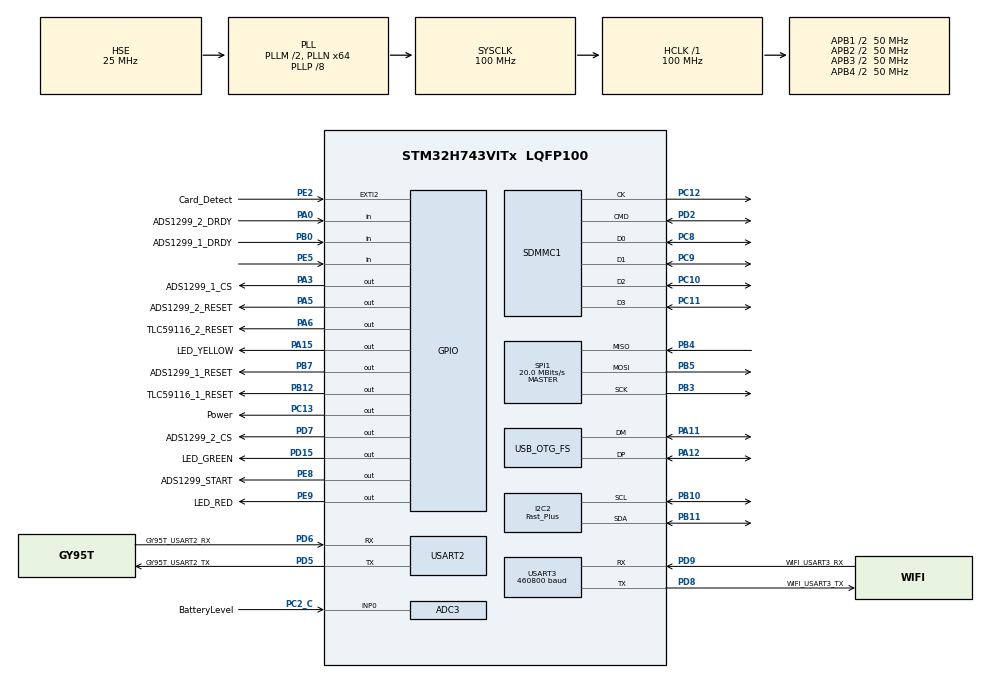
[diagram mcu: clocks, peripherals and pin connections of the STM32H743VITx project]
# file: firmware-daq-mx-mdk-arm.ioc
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ADC3.Channel-6\#ChannelRegularConversion=ADC_CHANNEL_0
ADC3.NbrOfConversionFlag=1
ADC3.OffsetNumber-6\#ChannelRegularConversion=ADC_OFFSET_NONE
ADC3.OffsetSignedSaturation-6\#ChannelRegularConversion=DISABLE
ADC3.Rank-6\#ChannelRegularConversion=1
ADC3.SamplingTime-6\#ChannelRegularConversion=ADC_SAMPLETIME_16CYCLES_5
CORTEX_M7.default_mode_Activation=1
Dma.Request0=USART3_TX
Dma.USART3_TX.0.Direction=DMA_MEMORY_TO_PERIPH
Dma.USART3_TX.0.EventEnable=DISABLE
Dma.USART3_TX.0.FIFOMode=DMA_FIFOMODE_DISABLE
Dma.USART3_TX.0.Instance=DMA1_Stream0
Dma.USART3_TX.0.MemDataAlignment=DMA_MDATAALIGN_BYTE
Dma.USART3_TX.0.MemInc=DMA_MINC_ENABLE
Dma.USART3_TX.0.Mode=DMA_NORMAL
Dma.USART3_TX.0.PeriphDataAlignment=DMA_PDATAALIGN_BYTE
Dma.USART3_TX.0.PeriphInc=DMA_PINC_DISABLE
Dma.USART3_TX.0.Polarity=HAL_DMAMUX_REQ_GEN_RISING
Dma.USART3_TX.0.Priority=DMA_PRIORITY_LOW
Dma.USART3_TX.0.RequestNumber=1
Dma.USART3_TX.0.SignalID=NONE
Dma.USART3_TX.0.SyncEnable=DISABLE
Dma.USART3_TX.0.SyncPolarity=HAL_DMAMUX_SYNC_NO_EVENT
Dma.USART3_TX.0.SyncRequestNumber=1
Dma.USART3_TX.0.SyncSignalID=NONE
FATFS.USE_DMA_CODE_SD=0
FATFS._FS_EXFAT=1
FATFS._USE_LFN=1
I2C2.I2C_Speed_Mode=I2C_Fast_Plus
I2C2.Timing=0x0020081F
Mcu.Family=STM32H7
Mcu.Name=STM32H743VITx
Mcu.Package=LQFP100
NVIC.DMA1_Stream0_IRQn=true\:0\:0\:false\:false\:true\:false\:true\:true
NVIC.EXTI2_IRQn=true\:0\:0\:false\:false\:true\:true\:true\:true
NVIC.OTG_FS_IRQn=true\:0\:0\:false\:false\:true\:false\:true\:true
NVIC.PriorityGroup=NVIC_PRIORITYGROUP_4
NVIC.TIM6_DAC_IRQn=true\:1\:0\:true\:false\:true\:true\:true\:true
NVIC.TIM7_IRQn=true\:1\:0\:true\:false\:true\:true\:true\:true
NVIC.TIM8_UP_TIM13_IRQn=true\:0\:0\:false\:false\:true\:true\:true\:true
NVIC.USART2_IRQn=true\:1\:0\:true\:false\:true\:true\:true\:true
NVIC.USART3_IRQn=true\:0\:0\:true\:false\:true\:true\:true\:true
PA0.GPIO_Label=ADS1299_2_DRDY
PA0.GPIO_PuPd=GPIO_PULLUP
PA0.Signal=GPIO_Input
PA11.Mode=Device_Only
PA11.Signal=USB_OTG_FS_DM
PA12.Mode=Device_Only
PA12.Signal=USB_OTG_FS_DP
PA15\ (JTDI).GPIO_Label=LED_YELLOW
PA15\ (JTDI).GPIO_PuPd=GPIO_PULLDOWN
PA15\ (JTDI).Signal=GPIO_Output
PA3.GPIO_Label=ADS1299_1_CS
PA3.GPIO_PuPd=GPIO_PULLUP
PA3.PinState=GPIO_PIN_SET
PA3.Signal=GPIO_Output
PA5.GPIO_Label=ADS1299_2_RESET
PA5.GPIO_PuPd=GPIO_PULLUP
PA5.PinState=GPIO_PIN_SET
PA5.Signal=GPIO_Output
PA6.GPIO_Label=TLC59116_2_RESET
PA6.GPIO_PuPd=GPIO_PULLUP
PA6.PinState=GPIO_PIN_SET
PA6.Signal=GPIO_Output
PB0.GPIO_Label=ADS1299_1_DRDY
PB0.GPIO_PuPd=GPIO_PULLUP
PB0.Signal=GPIO_Input
PB10.Mode=I2C
PB10.Signal=I2C2_SCL
PB11.Mode=I2C
PB11.Signal=I2C2_SDA
PB12.GPIO_Label=TLC59116_1_RESET
PB12.GPIO_PuPd=GPIO_PULLUP
PB12.PinState=GPIO_PIN_SET
PB12.Signal=GPIO_Output
PB3\ (JTDO/TRACESWO).GPIO_PuPd=GPIO_PULLDOWN
PB3\ (JTDO/TRACESWO).GPIO_Speed=GPIO_SPEED_FREQ_VERY_HIGH
PB3\ (JTDO/TRACESWO).Mode=Full_Duplex_Master
PB3\ (JTDO/TRACESWO).Signal=SPI1_SCK
PB4\ (NJTRST).GPIO_PuPd=GPIO_PULLDOWN
PB4\ (NJTRST).GPIO_Speed=GPIO_SPEED_FREQ_VERY_HIGH
PB4\ (NJTRST).Mode=Full_Duplex_Master
PB4\ (NJTRST).Signal=SPI1_MISO
PB5.GPIO_PuPd=GPIO_PULLDOWN
PB5.GPIO_Speed=GPIO_SPEED_FREQ_VERY_HIGH
PB5.Mode=Full_Duplex_Master
PB5.Signal=SPI1_MOSI
PB7.GPIO_Label=ADS1299_1_RESET
PB7.GPIO_ModeDefaultOutputPP=GPIO_MODE_OUTPUT_PP
PB7.GPIO_PuPd=GPIO_PULLUP
PB7.GPIO_Speed=GPIO_SPEED_FREQ_LOW
PB7.PinState=GPIO_PIN_SET
PB7.Signal=GPIO_Output
PC10.GPIO_PuPd=GPIO_PULLUP
PC10.GPIO_Speed_High_Default=GPIO_SPEED_FREQ_VERY_HIGH
PC10.Mode=SD_4_bits_Wide_bus
PC10.Signal=SDMMC1_D2
PC11.GPIO_PuPd=GPIO_PULLUP
PC11.GPIO_Speed_High_Default=GPIO_SPEED_FREQ_VERY_HIGH
PC11.Mode=SD_4_bits_Wide_bus
PC11.Signal=SDMMC1_D3
PC12.GPIO_PuPd=GPIO_NOPULL
PC12.GPIO_Speed_High_Default=GPIO_SPEED_FREQ_VERY_HIGH
PC12.Mode=SD_4_bits_Wide_bus
PC12.Signal=SDMMC1_CK
PC13.GPIO_Label=Power
PC13.GPIO_PuPd=GPIO_PULLUP
PC13.PinState=GPIO_PIN_SET
PC13.Signal=GPIO_Output
PC14-OSC32_IN\ (OSC32_IN).Mode=LSE-External-Oscillator
PC14-OSC32_IN\ (OSC32_IN).Signal=RCC_OSC32_IN
PC15-OSC32_OUT\ (OSC32_OUT).Mode=LSE-External-Oscillator
PC15-OSC32_OUT\ (OSC32_OUT).Signal=RCC_OSC32_OUT
PC2_C.GPIO_Label=BatteryLevel
PC2_C.Signal=SharedAnalog_PC2
PC8.GPIO_PuPd=GPIO_PULLUP
PC8.GPIO_Speed_High_Default=GPIO_SPEED_FREQ_VERY_HIGH
PC8.Mode=SD_4_bits_Wide_bus
PC8.Signal=SDMMC1_D0
PC9.GPIO_PuPd=GPIO_PULLUP
PC9.GPIO_Speed_High_Default=GPIO_SPEED_FREQ_VERY_HIGH
PC9.Mode=SD_4_bits_Wide_bus
PC9.Signal=SDMMC1_D1
PD15.GPIO_Label=LED_GREEN
PD15.GPIO_PuPd=GPIO_PULLDOWN
PD15.Signal=GPIO_Output
PD2.GPIO_PuPd=GPIO_PULLUP
PD2.GPIO_Speed_High_Default=GPIO_SPEED_FREQ_VERY_HIGH
PD2.Mode=SD_4_bits_Wide_bus
PD2.Signal=SDMMC1_CMD
PD5.GPIO_Label=GY95T_USART2_TX
PD5.Mode=Asynchronous
PD5.Signal=USART2_TX
PD6.GPIO_Label=GY95T_USART2_RX
PD6.Mode=Asynchronous
PD6.Signal=USART2_RX
PD7.GPIO_Label=ADS1299_2_CS
PD7.GPIO_PuPd=GPIO_PULLUP
PD7.PinState=GPIO_PIN_SET
PD7.Signal=GPIO_Output
PD8.GPIO_Label=WIFI_USART3_TX
PD8.Mode=Asynchronous
PD8.Signal=USART3_TX
PD9.GPIO_Label=WIFI_USART3_RX
PD9.Mode=Asynchronous
PD9.Signal=USART3_RX
PE2.GPIO_Label=Card_Detect
PE2.GPIO_ModeDefaultEXTI=GPIO_MODE_IT_RISING
PE2.GPIO_PuPd=GPIO_NOPULL
PE2.Signal=GPXTI2
PE5.GPIO_PuPd=GPIO_PULLDOWN
PE5.Signal=GPIO_Input
PE8.GPIO_Label=ADS1299_START
PE8.GPIO_PuPd=GPIO_PULLDOWN
PE8.GPIO_Speed=GPIO_SPEED_FREQ_LOW
PE8.Signal=GPIO_Output
PE9.GPIO_Label=LED_RED
PE9.GPIO_ModeDefaultOutputPP=GPIO_MODE_OUTPUT_PP
PE9.GPIO_PuPd=GPIO_PULLDOWN
PE9.PinState=GPIO_PIN_RESET
PE9.Signal=GPIO_Output
PH0-OSC_IN\ (PH0).Mode=HSE-External-Oscillator
PH0-OSC_IN\ (PH0).Signal=RCC_OSC_IN
PH1-OSC_OUT\ (PH1).Mode=HSE-External-Oscillator
PH1-OSC_OUT\ (PH1).Signal=RCC_OSC_OUT
ProjectManager.HeapSize=0x200
ProjectManager.StackSize=0x400
ProjectManager.TargetToolchain=MDK-ARM V5.32
RCC.ADCFreq_Value=20000000
RCC.APB1Freq_Value=50000000
RCC.APB2Freq_Value=50000000
RCC.APB3Freq_Value=50000000
RCC.APB4Freq_Value=50000000
RCC.CortexFreq_Value=100000000
RCC.D1PPRE=RCC_APB3_DIV2
RCC.D2PPRE1=RCC_APB1_DIV2
RCC.D2PPRE2=RCC_APB2_DIV2
RCC.D3PPRE=RCC_APB4_DIV2
RCC.DIVM1=2
RCC.DIVM2=2
RCC.DIVM3=25
RCC.DIVN1=64
RCC.DIVN2=32
RCC.DIVN3=432
RCC.DIVP1=8
RCC.DIVP2=20
RCC.DIVP3=9
RCC.DIVQ1=20
RCC.DIVQ2=10
RCC.DIVQ3=9
RCC.DIVR2=10
RCC.DIVR3=9
RCC.HCLKFreq_Value=100000000
RCC.PLL2FRACN=0
RCC.PLLFRACN=0
RCC.PLLSourceVirtual=RCC_PLLSOURCE_HSE
RCC.RTCClockSelection=RCC_RTCCLKSOURCE_LSE
RCC.SDMMC1CLockSelection=RCC_SDMMCCLKSOURCE_PLL2
RCC.SYSCLKFreq_VALUE=100000000
RCC.SYSCLKSource=RCC_SYSCLKSOURCE_PLLCLK
RCC.USART234578CLockSelection=RCC_USART234578CLKSOURCE_PLL2
RCC.USBCLockSelection=RCC_USBCLKSOURCE_PLL3
RCC.USBFreq_Value=48000000
SDMMC1.ClockDiv=4
SH.SharedAnalog_PC2.0=GPIO_Analog
SH.SharedAnalog_PC2.1=ADC3_INP0,IN0-Single-Ended
SPI1.BaudRatePrescaler=SPI_BAUDRATEPRESCALER_2
SPI1.CLKPhase=SPI_PHASE_2EDGE
SPI1.CalculateBaudRate=20.0 MBits/s
SPI1.DataSize=SPI_DATASIZE_8BIT
SPI1.Direction=SPI_DIRECTION_2LINES
SPI1.Mode=SPI_MODE_MASTER
SPI1.NSSPMode=SPI_NSS_PULSE_DISABLE
SPI1.VirtualType=VM_MASTER
TIM13.Period=999
TIM13.Prescaler=99
TIM6.AutoReloadPreload=TIM_AUTORELOAD_PRELOAD_ENABLE
TIM6.Period=199
TIM6.Prescaler=9999
TIM7.AutoReloadPreload=TIM_AUTORELOAD_PRELOAD_ENABLE
TIM7.Period=99
TIM7.Prescaler=99
USART2.OverSampling=UART_OVERSAMPLING_8
USART2.VirtualMode-Asynchronous=VM_ASYNC
USART3.BaudRate=460800
USART3.MSBFirstParam=ADVFEATURE_MSBFIRST_DISABLE
USART3.OverSampling=UART_OVERSAMPLING_8
USART3.VirtualMode-Asynchronous=VM_ASYNC
USB_DEVICE.CLASS_NAME_FS=MSC
USB_DEVICE.VirtualMode-MSC_FS=Msc
USB_DEVICE.VirtualModeFS=Msc_FS
USB_OTG_FS.VirtualMode=Device_Only
VP_FATFS_VS_SDIO.Mode=SDIO
VP_MEMORYMAP_VS_MEMORYMAP.Mode=CurAppReg
VP_RTC_VS_RTC_Activate.Mode=RTC_Enabled
VP_RTC_VS_RTC_Calendar.Mode=RTC_Calendar
VP_TIM13_VS_ClockSourceINT.Mode=Enable_Timer
VP_TIM6_VS_ClockSourceINT.Mode=Enable_Timer
VP_TIM7_VS_ClockSourceINT.Mode=Enable_Timer
VP_USB_DEVICE_VS_USB_DEVICE_MSC_FS.Mode=MSC_FS
board=custom

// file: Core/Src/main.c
/* USER CODE BEGIN Header */
/**
  ******************************************************************************
  * @file           : main.c
  * @brief          : Main program body
  ******************************************************************************
  * @attention
  *
  * Copyright (c) 2026 STMicroelectronics.
  * All rights reserved.
  *
  * This software is licensed under terms that can be found in the LICENSE file
  * in the root directory of this software component.
  * If no LICENSE file comes with this software, it is provided AS-IS.
  *
  ******************************************************************************
  */
/* USER CODE END Header */
#include "main.h"
#include "adc.h"
#include "dma.h"
#include "fatfs.h"
#include "i2c.h"
#include "rtc.h"
#include "sdmmc.h"
#include "spi.h"
#include "tim.h"
#include "usart.h"
#include "usb_device.h"
#include "gpio.h"

/* USER CODE BEGIN Includes */

#include <string.h>
#include <stdio.h>
#include "ADS1299.h"
#include "BatteryLevel.h"
#include "E101-C5WN8-PS.h"
#include "GY-95T.h"
#include "RingBuffer.h"
#include "SD.h"
#include "TLC59116.h"
#include "Utils.h"

/* USER CODE END Includes */

/* USER CODE BEGIN PD */

#define CALIBRATE_FREQUENCY 15000U // 校准频率每15000次校准一次

#define PACKET_SIZE 2048U // 数据包大小, 包括2字节头

// 如果组包速度大于DMA发送速度
#define PACKET_COUNT 8U // 数据包数量

#define MARKER_SIZE 16U
#define MARKER_CAPACITY (MARKER_SIZE * 8U)

/* USER CODE END PD */

/* USER CODE BEGIN PV */

// TIM6中断标志
static volatile bool g_tim6_ready = false;

// TIM13中断标志
static volatile bool g_tim13_ready = false;

// USART3发送忙标志
static volatile bool g_usart3_tx_busy = false;

static volatile uint32_t g_marker_time[MARKER_CAPACITY] = {0};
static volatile uint8_t g_marker[MARKER_SIZE] = {0};
static volatile uint8_t g_marker_index = 0U;
static volatile bool g_marker_start = false;

// ADS1299数据
static int32_t g_ads_data[LED_COUNT * RECVIVER_COUNT * CHANNEL_COUNT_PER_LED];

// 数据个数
static uint16_t g_ads_data_count = 0U;

// 采集索引
static uint8_t g_sample_idx = 0U;

// 数据包序号
static uint32_t g_packet_num = 0U;

// 数据包,需要发送到上位机
static uint8_t g_packet[PACKET_COUNT][PACKET_SIZE];

// 新数据包索引
static int8_t g_new_packet_index = -1;

// 正在发送数据包索引
static int8_t g_tx_packet_index = -1;

// SD卡正在写入的数据包索引
static int8_t g_sd_packet_index = -1;

static uint16_t g_tx_ads_data_count = 0U;

static volatile uint8_t g_tx_head = 0U;

/* USER CODE END PV */

void SystemClock_Config(void);
void PeriphCommonClock_Config(void);
static void MPU_Config(void);
/* USER CODE BEGIN PFP */

/**
  * @brief  根据采样率配置定时器6
  * @param rate 采样率（Hz）
  * @param new_psc 新的预分频器值（0-65535）
  * @param new_arr 新的自动重载值（0-65535）
  */
static void configure_tim6_for_sample_rate(uint32_t rate, uint16_t* new_psc, uint16_t* new_arr);

/* USER CODE END PFP */

int main(void)
{

  /* MPU Configuration--------------------------------------------------------*/
  MPU_Config();

  /* MCU Configuration--------------------------------------------------------*/

  /* Reset of all peripherals, Initializes the Flash interface and the Systick. */
  HAL_Init();

  /* Configure the system clock */
  SystemClock_Config();

  /* Configure the peripherals common clocks */
  PeriphCommonClock_Config();

  /* Initialize all configured peripherals */
  MX_GPIO_Init();
  MX_DMA_Init();
  MX_I2C2_Init();
  MX_USART3_UART_Init();
  MX_SPI1_Init();
  MX_TIM6_Init();
  MX_ADC3_Init();
  MX_TIM7_Init();
  MX_USART2_UART_Init();
  MX_SDMMC1_SD_Init();
  MX_FATFS_Init();
  MX_RTC_Init();
  MX_USB_DEVICE_Init();
  MX_TIM13_Init();
  /* USER CODE BEGIN 2 */

  // 初始化数据包，提前设置头字节为846F0B
  for (uint8_t i = 0; i < PACKET_COUNT; ++i)
  {
    g_packet[i][0] = 0x84;
    g_packet[i][1] = 0x6F;
    g_packet[i][2] = g_wifi_command_type;
    g_packet[i][3] = 0x00;
  }

  SD_Mount();

	  // 清理HAL_SD_Init阶段可能产生的UART2错误标志和残留数据
  __HAL_UART_CLEAR_OREFLAG(&huart2);
  __HAL_UART_CLEAR_NEFLAG(&huart2);
  __HAL_UART_CLEAR_FEFLAG(&huart2);
  __HAL_UART_CLEAR_PEFLAG(&huart2);
  __HAL_UART_SEND_REQ(&huart2, UART_RXDATA_FLUSH_REQUEST);

  // 清理HAL_SD_Init阶段可能产生的UART3错误标志和残留数据
  __HAL_UART_CLEAR_OREFLAG(&huart3);
  __HAL_UART_CLEAR_NEFLAG(&huart3);
  __HAL_UART_CLEAR_FEFLAG(&huart3);
  __HAL_UART_CLEAR_PEFLAG(&huart3);
  __HAL_UART_SEND_REQ(&huart3, UART_RXDATA_FLUSH_REQUEST);

  // 初始化USART2接收中断
  HAL_UART_Receive_IT(&huart2, &g_gy95t_usart2_rx_byte, 1U);

  // 初始化USART3接收中断
  HAL_UART_Receive_IT(&huart3, &g_wifi_usart3_rx_byte, 1U);

  HAL_TIM_Base_Start_IT(&htim6);

  HAL_TIM_Base_Start_IT(&htim7);

	HAL_TIM_Base_Start_IT(&htim13);

  DWT_Init();

  /* 初始化GY95T */
  GY95T_Init();

  /* 初始化WIFI */
  WIFI_Init();

  /* 初始化所有(2个)TLC59116为PWM模式，设置所有通道的PWM值为0 */
  TLC59116_Init();

  /* 初始化第1个ADS1299芯片 */
  ADS1299_1_Init();

  /* 初始化第2个ADS1299芯片 */
  ADS1299_2_Init();

  Get_Battery_Level();

  /* USER CODE END 2 */

  /* Infinite loop */
  /* USER CODE BEGIN WHILE */
  while (1)
  {
    static uint32_t battery_level_last_tick = 0U;

    uint32_t now_tick = HAL_GetTick();
    if ((now_tick - battery_level_last_tick) >= 2000U * 30)
    {
      battery_level_last_tick = now_tick;
      (void)Get_Battery_Level();
    }

    /* SD卡检测去抖：中断只登记事件，在主循环中30ms后判稳 */
    if (g_sd_card_detect_irq_pending)
    {
      if ((HAL_GetTick() - g_sd_card_detect_irq_tick) >= SD_CARD_DEBOUNCE_MS)
      {
        g_sd_card_detect_irq_pending = false;

        bool old_detected = g_sd_card_detected;
        SD_Detect();

        if (old_detected != g_sd_card_detected)
        {
          if (g_sd_card_detected)
          {
            // 检测到卡插入了
            MX_SDMMC1_SD_Init();

            SD_Mount();
          }
          else
          {
            // 检测到卡拔出了
            g_sd_card_initialized = false;
            g_sd_card_mounted = false;
            g_file_opened = false;
          }

          SD_SendInfo();
        }
      }
    }

    {
      static uint32_t power_key_start_time = 0U;
      static bool power_key_pressed = false;

      if (HAL_GPIO_ReadPin(GPIOE, GPIO_PIN_5) == GPIO_PIN_SET)
      {
        if (!power_key_pressed)
        {
          power_key_start_time = HAL_GetTick();
          power_key_pressed = true;
        }
        else
        {
          if ((HAL_GetTick() - power_key_start_time) >= 1500U)
          {
            SD_CloseFile();
            HAL_GPIO_WritePin(Power_GPIO_Port, Power_Pin, GPIO_PIN_RESET);
            while (1) {}
          }
        }
      }
      else
      {
        power_key_pressed = false;
      }
    }

    /* 1. 处理WIFI串口数据 */
    if (RB_Available(&g_wifi_rb) > 0)
    {
      uint8_t byte;
      RB_ReadByte(&g_wifi_rb, &byte);
      WIFI_AssembleCommand(byte);
    }

    /* 2. 处理是否发送SD卡信息标志 */
    if (g_send_sd_info_flag)
    {
      g_send_sd_info_flag = false;

      SD_SendInfo();
    }

    /* 2. 处理GY95T串口数据 */
    if (RB_Available(&g_gy95t_rb) > 0)
    {
      uint8_t byte;
      RB_ReadByte(&g_gy95t_rb, &byte);
      GY95T_ProcessByte(byte);
    }

    /* 3. 处理离线存储标志改变标志 */
    if (g_storage_flag_changed)
    {
      g_storage_flag_changed = false;
    }

    /* 4. 处理采样率改变标志 */
    if (g_sample_rate_changed)
    {
      g_sample_rate_changed = false;

      /* 新的预分频器值 */
      uint16_t new_psc = 0U;
      /* 新的自动重载值 */
      uint16_t new_arr = 0U;

      /* 配置定时器6的采样率 */
      configure_tim6_for_sample_rate(g_sample_rate, &new_psc, &new_arr);

      /* 采样率改变，更新定时器6的周期 */
      __HAL_TIM_SET_PRESCALER(&htim6, new_psc);
      __HAL_TIM_SET_AUTORELOAD(&htim6, new_arr);
      HAL_TIM_GenerateEvent(&htim6, TIM_EVENTSOURCE_UPDATE);
    }

    /* 5. 处理开始采样标志改变标志 */
    if (g_start_flag_changed)
    {
      g_start_flag_changed = false;

      /* 采样 */
      if (g_start_flag)
      {

        //g_timestamp = 0U;

        memset(g_marker, 0, sizeof(g_marker));
        g_marker_index = 0;

        if (g_storage_flag)
        {
          RTC_TimeTypeDef rtc_time = {0};
          RTC_DateTypeDef rtc_date = {0};
          char file_name[24] = {0};

          /* 读取RTC时间并生成文件名: yyyyMMdd-hhmmss */
          HAL_RTC_GetTime(&hrtc, &rtc_time, RTC_FORMAT_BIN);
          HAL_RTC_GetDate(&hrtc, &rtc_date, RTC_FORMAT_BIN);
          (void)snprintf(file_name, sizeof(file_name), "0:%04u%02u%02u-%02u%02u%02u",
                        (unsigned int)(2000U + rtc_date.Year),
                        (unsigned int)rtc_date.Month,
                        (unsigned int)rtc_date.Date,
                        (unsigned int)rtc_time.Hours,
                        (unsigned int)rtc_time.Minutes,
                        (unsigned int)rtc_time.Seconds);
          SD_SetFileName(file_name);
          SD_OpenFile();
        }

        /* 开始GY95T的连续输出 */
        GY95T_Start();
      }
      else
      {
        if (g_storage_flag)
        {
          SD_CloseFile();
        }

        /* 当停止采样时，停止GY95T的连续输出 */
        GY95T_Stop();

        g_packet_num = 0U;
        //g_timestamp = 0U;
      }
    }

    // if (g_tim13_ready && g_start_flag)
    // {
    //   g_tim13_ready = false;
    //   // 读取GPIO状态
    //   GPIO_PinState gpio_state = HAL_GPIO_ReadPin(Card_Detect_GPIO_Port, Card_Detect_Pin);

    //   if (g_marker_index < MARKER_CAPACITY)
    //   {
    //     g_marker_time[g_marker_index] = g_timestamp;

    //     uint16_t marker_byte_index = g_marker_index / 8U;
    //     uint8_t marker_bit_mask = (uint8_t)(1U << (g_marker_index % 8U));
    //     if (gpio_state == GPIO_PIN_SET)
    //     {
    //       g_marker[marker_byte_index] |= marker_bit_mask;
    //     }
    //     else
    //     {
    //       g_marker[marker_byte_index] &= (uint8_t)~marker_bit_mask;
    //     }
    //     g_marker_index++;
    //   }
    //   else
    //   {
    //     for (uint16_t i = 0U; i < MARKER_SIZE - 1U; i++)
    //     {
    //       g_marker[i] = (uint8_t)((g_marker[i] >> 1U) | ((g_marker[i + 1U] & 0x01U) << 7U));
    //     }
    //     g_marker[MARKER_SIZE - 1U] >>= 1U;

    //     if (gpio_state == GPIO_PIN_SET)
    //     {
    //       g_marker[MARKER_SIZE - 1U] |= 0x80U;
    //     }

    //     for (uint16_t i = 0U; i < MARKER_CAPACITY - 1U; i++)
    //     {
    //       g_marker_time[i] = g_marker_time[i + 1U];
    //     }
    //     g_marker_time[MARKER_CAPACITY - 1U] = g_timestamp;
    //   }
    // }

    /* 6. 处理USART3发送忙标志，USART3发送处于空闲状态,并且有新的数据包需要发送 */
    if (!g_usart3_tx_busy && (g_tx_packet_index != g_new_packet_index))
    {
      /* 设置为发送忙状态 */
      g_usart3_tx_busy = true;

      /* 下一个要发送的数据包索引 */
      g_tx_packet_index = (g_tx_packet_index + 1) % PACKET_COUNT;

      if (g_storage_flag)
      {
        UINT bw = 0U;
        FRESULT res = SD_WriteFile(g_packet[g_tx_packet_index], 14 + g_tx_ads_data_count * 4 + 20 + 21, &bw);
      }

      HAL_UART_Transmit_DMA(&huart3, g_packet[g_tx_packet_index], 14 + g_tx_ads_data_count * 4 + 20 + 21);
    }

    /* 7. 处理定时器6中断 */
    if (g_tim6_ready && g_start_flag)
    {
        memset(g_marker, 0, sizeof(g_marker));
        g_marker_index = 0;
        g_marker_start = true;

      g_tim6_ready = false;
			g_sample_idx = 0;

      uint32_t tim6_start = DWT->CYCCNT;

      /* 循环开启TLC59116-1的16个通道 */
      for (uint8_t ch = 0; ch < LED_COUNT; ch++)
      {
        /* 第几个LED */
        uint8_t led = ch / 2;

        uint8_t ads1 =  g_channel_mask[led * 2];

        uint8_t ads2 =  g_channel_mask[led * 2 + 1];

        // 如果没有建立通道，跳过开启LED
        if (ads1 == 0 && ads2 == 0)
        {
          continue;
        }

        uint32_t turn_on_led_start = DWT->CYCCNT;

        // 开启LED
        TLC59116_1_SetPwm(ch, g_led_brightness[led]);

        // TODO: 待确认延时10us
        Delay_US(20);

        uint32_t ads1_channel_start = DWT->CYCCNT;

        if (ads1 != 0)
        {
          ADS1299_1_CS_Low();
          ADS1299_Start_ByCmd();
          ADS1299_1_CS_High();
        }

        if (ads2 != 0)
        {
          ADS1299_2_CS_Low();
          ADS1299_Start_ByCmd();
          ADS1299_2_CS_High();
        }

        // led与ads1建立了通道
        if (ads1 != 0)
        {
          uint32_t ads1299_1_wait_drdy_start = DWT->CYCCNT;

          // 等待DRDY引脚为低电平
          while (HAL_GPIO_ReadPin(ADS1299_1_DRDY_GPIO_Port, ADS1299_1_DRDY_Pin) != GPIO_PIN_RESET)
          {
          }

          uint32_t ads1299_1_read_data_start = DWT->CYCCNT;

          ADS1299_1_CS_Low();

          // 读取ADS12991数据寄存器
          HAL_SPI_TransmitReceive(&hspi1, ads_tx_buffer, ads_1_rx_buffer, 27, 100U);

          uint32_t ads1299_1_stop_start = DWT->CYCCNT;

          uint32_t ads1299_1_cs_high_start = DWT->CYCCNT;

          ADS1299_1_CS_High();

          uint32_t ads1299_1_process_data_start = DWT->CYCCNT;

          for (uint8_t i = 0; i < 8; i++)
          {
            uint8_t set = Is_Bit_Set(ads1, i);
            if (1 == set)
            {
              int32_t value =  Sign_Extend_24_to_32(&ads_1_rx_buffer[3 + i * 3]);
              g_ads_data[g_ads_data_count++] = value - ads_1_origin[i];
            }
          }

          uint32_t ads1299_1_process_data_end = DWT->CYCCNT;
        }

        uint32_t ads2_channel_start = DWT->CYCCNT;

        // led与ads2建立了通道
        if (ads2 != 0)
        {

          uint32_t ads1299_2_wait_drdy_start = DWT->CYCCNT;

          // 等待DRDY引脚为低电平
          while (HAL_GPIO_ReadPin(ADS1299_2_DRDY_GPIO_Port, ADS1299_2_DRDY_Pin) != GPIO_PIN_RESET)
          {
          }

          uint32_t ads1299_2_read_data_start = DWT->CYCCNT;

          ADS1299_2_CS_Low();

          // 读取ADS12992数据寄存器
          HAL_SPI_TransmitReceive(&hspi1, ads_tx_buffer, ads_2_rx_buffer, 27, 100U);

          uint32_t ads1299_2_stop_start = DWT->CYCCNT;

          uint32_t ads1299_2_cs_high_start = DWT->CYCCNT;

          ADS1299_2_CS_High();

          uint32_t ads1299_2_process_data_start = DWT->CYCCNT;

          for (uint8_t i = 0; i < 8; i++)
          {
            uint8_t set = Is_Bit_Set(ads2, i);
            if (1 == set)
            {
              int32_t value =  Sign_Extend_24_to_32(&ads_2_rx_buffer[3 + i * 3]);
              g_ads_data[g_ads_data_count++] = value - ads_2_origin[i];
            }
          }

          uint32_t ads1299_2_process_data_end = DWT->CYCCNT;
        }

        if (ads1 != 0)
        {
          ADS1299_1_CS_Low();
          ADS1299_Stop_ByCmd();
          ADS1299_1_CS_High();
        }

        if (ads2 != 0)
        {
          ADS1299_2_CS_Low();
          ADS1299_Stop_ByCmd();
          ADS1299_2_CS_High();
        }

        uint32_t turn_off_led_start = DWT->CYCCNT;

        // 关闭LED
        TLC59116_1_SetPwm(ch, 0);

        uint32_t turn_off_led_end = DWT->CYCCNT;
      }

      // 循环开启TLC59116-2的16个通道
      for (uint8_t ch = 0; ch < LED_COUNT; ch++)
      {
        // 第几个LED
        uint8_t led = ch / 2;

        uint8_t ads1 =  g_channel_mask[16 + led * 2];

        uint8_t ads2 =  g_channel_mask[16 + led * 2 + 1];

        // 如果没有建立通道，跳过开启LED
        if (ads1 == 0 && ads2 == 0)
        {
          continue;
        }

        uint32_t turn_on_led_start = DWT->CYCCNT;

        // 开启LED
        TLC59116_2_SetPwm(ch, g_led_brightness[8 + led]);

        // TODO: 待确认延时10us
        Delay_US(20);

        uint32_t ads1_channel_start = DWT->CYCCNT;

        if (ads1 != 0)
        {
          ADS1299_1_CS_Low();
          ADS1299_Start_ByCmd();
          ADS1299_1_CS_High();
        }

        if (ads2 != 0)
        {
          ADS1299_2_CS_Low();
          ADS1299_Start_ByCmd();
          ADS1299_2_CS_High();
        }

        // led与ads1建立了通道
        if (ads1 != 0)
        {

          uint32_t ads1299_1_wait_drdy_start = DWT->CYCCNT;

          // 等待DRDY引脚为低电平
          while (HAL_GPIO_ReadPin(ADS1299_1_DRDY_GPIO_Port, ADS1299_1_DRDY_Pin) != GPIO_PIN_RESET)
          {
          }

          ADS1299_1_CS_Low();

          uint32_t ads1299_1_read_data_start = DWT->CYCCNT;

          // 读取ADS12991数据寄存器
          HAL_SPI_TransmitReceive(&hspi1, ads_tx_buffer, ads_1_rx_buffer, 27, 100U);

          uint32_t ads1299_1_stop_start = DWT->CYCCNT;

          uint32_t ads1299_1_cs_high_start = DWT->CYCCNT;

          ADS1299_1_CS_High();

          uint32_t ads1299_1_process_data_start = DWT->CYCCNT;

          for (uint8_t i = 0; i < 8; i++)
          {
            uint8_t set = Is_Bit_Set(ads1, i);
            if (1 == set)
            {
              int32_t value =  Sign_Extend_24_to_32(&ads_1_rx_buffer[3 + i * 3]);
              g_ads_data[g_ads_data_count++] = value - ads_1_origin[i];
            }
          }

          uint32_t ads1299_1_process_data_end = DWT->CYCCNT;
        }

        uint32_t ads2_channel_start = DWT->CYCCNT;

        // led与ads2建立了通道
        if (ads2 != 0)
        {
          uint32_t ads1299_2_wait_drdy_start = DWT->CYCCNT;

          // 等待DRDY引脚为低电平
          while (HAL_GPIO_ReadPin(ADS1299_2_DRDY_GPIO_Port, ADS1299_2_DRDY_Pin) != GPIO_PIN_RESET)
          {
          }

          uint32_t ads1299_2_read_data_start = DWT->CYCCNT;

          ADS1299_2_CS_Low();

          // 读取ADS12992数据寄存器
          HAL_SPI_TransmitReceive(&hspi1, ads_tx_buffer, ads_2_rx_buffer, 27, 100U);

          uint32_t ads1299_2_stop_start = DWT->CYCCNT;

          uint32_t ads1299_2_cs_high_start = DWT->CYCCNT;

          ADS1299_2_CS_High();

          uint32_t ads1299_2_process_data_start = DWT->CYCCNT;

          for (uint8_t i = 0; i < 8; i++)
          {
            uint8_t set = Is_Bit_Set(ads2, i);
            if (1 == set)
            {
              int32_t value =  Sign_Extend_24_to_32(&ads_2_rx_buffer[3 + i * 3]);
              g_ads_data[g_ads_data_count++] = value - ads_2_origin[i];
            }
          }

          uint32_t ads1299_2_process_data_end = DWT->CYCCNT;
        }

        if (ads1 != 0)
        {
          ADS1299_1_CS_Low();
          ADS1299_Stop_ByCmd();
          ADS1299_1_CS_High();
        }

        if (ads2 != 0)
        {
          ADS1299_2_CS_Low();
          ADS1299_Stop_ByCmd();
          ADS1299_2_CS_High();
        }

        uint32_t turn_off_led_start = DWT->CYCCNT;

        // 关闭LED
        TLC59116_2_SetPwm(ch, 0);

        uint32_t turn_off_led_end = DWT->CYCCNT;

      }

      g_sample_idx++;

      g_marker_start = false;
    }

    // 采样次数大于指定次数就发送
    if (g_sample_idx >= 1)
    {
      g_sample_idx = 0;

      // 新数据包索引
      int8_t new_packet_index = (g_new_packet_index + 1) % PACKET_COUNT;;
      if (new_packet_index == g_tx_packet_index)
      {
      }
      else
      {
        g_new_packet_index = new_packet_index;
      }

      g_packet[g_new_packet_index][2] = g_wifi_command_type;

      // 数据个数
      memcpy(g_packet[g_new_packet_index] + 4, &g_ads_data_count, sizeof(g_ads_data_count));

      // 数据包序号
      memcpy(g_packet[g_new_packet_index] + 6, &g_packet_num, sizeof(g_packet_num));

      // 时间戳
      memcpy(g_packet[g_new_packet_index] + 10, (const void *)&g_timestamp, sizeof(g_timestamp));

      // 复制数据
      memcpy(g_packet[g_new_packet_index] + 14, &g_ads_data, 4 * g_ads_data_count);

      /* GY95T数据 */
      memcpy(g_packet[g_new_packet_index] + 14 + 4 * g_ads_data_count, g_gy95t_data, GY95T_DATA_SIZE);

      g_packet[g_new_packet_index][14 + 4 * g_ads_data_count + GY95T_DATA_SIZE] = g_battery_level;

      g_packet[g_new_packet_index][14 + 4 * g_ads_data_count + GY95T_DATA_SIZE + 1] = 0;

      memcpy(g_packet[g_new_packet_index] + 14 + 4 * g_ads_data_count + GY95T_DATA_SIZE + 2, g_marker_time, 4);

      memcpy(g_packet[g_new_packet_index] + 14 + 4 * g_ads_data_count + GY95T_DATA_SIZE + 2 + 4, &g_marker_index, sizeof(g_marker_index));

      memcpy(g_packet[g_new_packet_index] + 14 + 4 * g_ads_data_count + GY95T_DATA_SIZE + 2 + 4 + sizeof(g_marker_index), g_marker, MARKER_SIZE);

      memset(g_marker, 0, sizeof(g_marker));
      g_marker_index = 0;

      g_tx_ads_data_count = g_ads_data_count;
      // 发送完毕，重置数据个数，从头开始写数据
      g_ads_data_count = 0;

      // 每发送一次数据，序号加1
      g_packet_num++;
    }

    /* USER CODE END WHILE */

  }
}

void SystemClock_Config(void)
{
  RCC_OscInitTypeDef RCC_OscInitStruct = {0};
  RCC_ClkInitTypeDef RCC_ClkInitStruct = {0};

  /** Supply configuration update enable
  */
  HAL_PWREx_ConfigSupply(PWR_LDO_SUPPLY);

  /** Configure the main internal regulator output voltage
  */
  __HAL_PWR_VOLTAGESCALING_CONFIG(PWR_REGULATOR_VOLTAGE_SCALE3);

  while(!__HAL_PWR_GET_FLAG(PWR_FLAG_VOSRDY)) {}

  /** Configure LSE Drive Capability
  */
  HAL_PWR_EnableBkUpAccess();
  __HAL_RCC_LSEDRIVE_CONFIG(RCC_LSEDRIVE_LOW);

  /** Initializes the RCC Oscillators according to the specified parameters
  * in the RCC_OscInitTypeDef structure.
  */
  RCC_OscInitStruct.OscillatorType = RCC_OSCILLATORTYPE_HSE|RCC_OSCILLATORTYPE_LSE;
  RCC_OscInitStruct.HSEState = RCC_HSE_ON;
  RCC_OscInitStruct.LSEState = RCC_LSE_ON;
  RCC_OscInitStruct.PLL.PLLState = RCC_PLL_ON;
  RCC_OscInitStruct.PLL.PLLSource = RCC_PLLSOURCE_HSE;
  RCC_OscInitStruct.PLL.PLLM = 2;
  RCC_OscInitStruct.PLL.PLLN = 64;
  RCC_OscInitStruct.PLL.PLLP = 8;
  RCC_OscInitStruct.PLL.PLLQ = 20;
  RCC_OscInitStruct.PLL.PLLR = 2;
  RCC_OscInitStruct.PLL.PLLRGE = RCC_PLL1VCIRANGE_3;
  RCC_OscInitStruct.PLL.PLLVCOSEL = RCC_PLL1VCOWIDE;
  RCC_OscInitStruct.PLL.PLLFRACN = 0;
  if (HAL_RCC_OscConfig(&RCC_OscInitStruct) != HAL_OK)
  {
    Error_Handler();
  }

  /** Initializes the CPU, AHB and APB buses clocks
  */
  RCC_ClkInitStruct.ClockType = RCC_CLOCKTYPE_HCLK|RCC_CLOCKTYPE_SYSCLK
                              |RCC_CLOCKTYPE_PCLK1|RCC_CLOCKTYPE_PCLK2
                              |RCC_CLOCKTYPE_D3PCLK1|RCC_CLOCKTYPE_D1PCLK1;
  RCC_ClkInitStruct.SYSCLKSource = RCC_SYSCLKSOURCE_PLLCLK;
  RCC_ClkInitStruct.SYSCLKDivider = RCC_SYSCLK_DIV1;
  RCC_ClkInitStruct.AHBCLKDivider = RCC_HCLK_DIV1;
  RCC_ClkInitStruct.APB3CLKDivider = RCC_APB3_DIV2;
  RCC_ClkInitStruct.APB1CLKDivider = RCC_APB1_DIV2;
  RCC_ClkInitStruct.APB2CLKDivider = RCC_APB2_DIV2;
  RCC_ClkInitStruct.APB4CLKDivider = RCC_APB4_DIV2;

  if (HAL_RCC_ClockConfig(&RCC_ClkInitStruct, FLASH_LATENCY_2) != HAL_OK)
  {
    Error_Handler();
  }
}

void PeriphCommonClock_Config(void)
{
  RCC_PeriphCLKInitTypeDef PeriphClkInitStruct = {0};

  /** Initializes the peripherals clock
  */
  PeriphClkInitStruct.PeriphClockSelection = RCC_PERIPHCLK_ADC|RCC_PERIPHCLK_SDMMC
                              |RCC_PERIPHCLK_USART2|RCC_PERIPHCLK_USART3;
  PeriphClkInitStruct.PLL2.PLL2M = 2;
  PeriphClkInitStruct.PLL2.PLL2N = 32;
  PeriphClkInitStruct.PLL2.PLL2P = 20;
  PeriphClkInitStruct.PLL2.PLL2Q = 10;
  PeriphClkInitStruct.PLL2.PLL2R = 10;
  PeriphClkInitStruct.PLL2.PLL2RGE = RCC_PLL2VCIRANGE_3;
  PeriphClkInitStruct.PLL2.PLL2VCOSEL = RCC_PLL2VCOWIDE;
  PeriphClkInitStruct.PLL2.PLL2FRACN = 0;
  PeriphClkInitStruct.SdmmcClockSelection = RCC_SDMMCCLKSOURCE_PLL2;
  PeriphClkInitStruct.Usart234578ClockSelection = RCC_USART234578CLKSOURCE_PLL2;
  PeriphClkInitStruct.AdcClockSelection = RCC_ADCCLKSOURCE_PLL2;
  if (HAL_RCCEx_PeriphCLKConfig(&PeriphClkInitStruct) != HAL_OK)
  {
    Error_Handler();
  }
}

/* USER CODE BEGIN 4 */

/**
  * @brief   配置定时器6的采样率
  * @param   rate  采样率，单位为Hz
  * @retval  None
  */
void configure_tim6_for_sample_rate(uint32_t rate, uint16_t* new_psc, uint16_t* new_arr)
{
  // 定时器时钟为100MHz
  // 定时器频率 = 定时器时钟 / ((PSC + 1) * (ARR + 1))

  if (rate == 0) rate = 50;  // 默认10Hz

  if (rate <= 100)
  {
    // 低采样率：使用较大的预分频
    *new_psc = 9999;   // Prescaler = 9999，定时器时钟 = 100MHz / 10000 = 10kHz
    *new_arr = (10000 / rate) - 1;
  }
  else if (rate <= 1000)
  {
    // 中采样率
    *new_psc = 999;    // Prescaler = 999，定时器时钟 = 100MHz / 1000 = 100kHz
    *new_arr = (100000 / rate) - 1;
  }
  else
  {
    // 高采样率
    *new_psc = 99;     // Prescaler = 99，定时器时钟 = 100MHz / 100 = 1MHz
    *new_arr = (1000000 / rate) - 1;
  }
}

void HAL_GPIO_EXTI_Callback(uint16_t GPIO_Pin)
{
  if (Card_Detect_Pin == GPIO_Pin)
  {
    // 双边沿触发下仅记录事件，实际状态在主循环中去抖判稳
    //g_sd_card_detect_irq_tick = HAL_GetTick();
    //g_sd_card_detect_irq_pending = true;
  }
}

/**
 * @brief   USART的接收完成回调
 * @param   huart  UART句柄
 */
void HAL_UART_RxCpltCallback(UART_HandleTypeDef *huart)
{
  if (USART2 == huart->Instance)
  {
    RB_WriteByte(&g_gy95t_rb, g_gy95t_usart2_rx_byte);
    HAL_UART_Receive_IT(&huart2, &g_gy95t_usart2_rx_byte, 1U);
  }
  else if (USART3 == huart->Instance)
  {
    RB_WriteByte(&g_wifi_rb, g_wifi_usart3_rx_byte);
    HAL_UART_Receive_IT(&huart3, &g_wifi_usart3_rx_byte, 1U);
  }
}

/**
 * @brief   USART的发送完成回调
 * @param   huart  UART句柄
 */
void HAL_UART_TxCpltCallback(UART_HandleTypeDef *huart)
{
  if (USART3 == huart->Instance)
  {
    g_usart3_tx_busy = false;
  }
}

/**
 * @brief   定时器周期溢出回调函数
 * @param   htim  定时器句柄
 * @retval  None
 */
void HAL_TIM_PeriodElapsedCallback(TIM_HandleTypeDef *htim)
{
  if (TIM6 == htim->Instance)
  {
    g_tim6_ready = true;
  }
  else if (TIM7 == htim->Instance)
  {
    g_timestamp++;
  }
  else if (TIM13 == htim->Instance && g_marker_start)
  {
    g_tim13_ready = true;

				// 读取GPIO状态
		GPIO_PinState gpio_state = HAL_GPIO_ReadPin(Card_Detect_GPIO_Port, Card_Detect_Pin);

		if (g_marker_index < MARKER_CAPACITY)
		{
			g_marker_time[g_marker_index] = g_timestamp;

			uint16_t marker_byte_index = g_marker_index / 8U;
			uint8_t marker_bit_mask = (uint8_t)(1U << (7U - (g_marker_index % 8U)));
			if (gpio_state == GPIO_PIN_SET)
			{
				g_marker[marker_byte_index] |= marker_bit_mask;
			}
			else
			{
				g_marker[marker_byte_index] &= (uint8_t)~marker_bit_mask;
			}
			g_marker_index++;
		}
		else
		{
			for (uint16_t i = 0U; i < MARKER_SIZE - 1U; i++)
			{
				g_marker[i] = (uint8_t)((g_marker[i] << 1U) | (g_marker[i + 1U] >> 7U));
			}
			g_marker[MARKER_SIZE - 1U] <<= 1U;

			if (gpio_state == GPIO_PIN_SET)
			{
				g_marker[MARKER_SIZE - 1U] |= 0x01U;
			}

			for (uint16_t i = 0U; i < MARKER_CAPACITY - 1U; i++)
			{
				g_marker_time[i] = g_marker_time[i + 1U];
			}
			g_marker_time[MARKER_CAPACITY - 1U] = g_timestamp;
		}
  }
}

/* USER CODE END 4 */

 /* MPU Configuration */

void MPU_Config(void)
{
  MPU_Region_InitTypeDef MPU_InitStruct = {0};

  /* Disables the MPU */
  HAL_MPU_Disable();

  /** Initializes and configures the Region and the memory to be protected
  */
  MPU_InitStruct.Enable = MPU_REGION_ENABLE;
  MPU_InitStruct.Number = MPU_REGION_NUMBER0;
  MPU_InitStruct.BaseAddress = 0x0;
  MPU_InitStruct.Size = MPU_REGION_SIZE_4GB;
  MPU_InitStruct.SubRegionDisable = 0x87;
  MPU_InitStruct.TypeExtField = MPU_TEX_LEVEL0;
  MPU_InitStruct.AccessPermission = MPU_REGION_NO_ACCESS;
  MPU_InitStruct.DisableExec = MPU_INSTRUCTION_ACCESS_DISABLE;
  MPU_InitStruct.IsShareable = MPU_ACCESS_SHAREABLE;
  MPU_InitStruct.IsCacheable = MPU_ACCESS_NOT_CACHEABLE;
  MPU_InitStruct.IsBufferable = MPU_ACCESS_NOT_BUFFERABLE;

  HAL_MPU_ConfigRegion(&MPU_InitStruct);
  /* Enables the MPU */
  HAL_MPU_Enable(MPU_PRIVILEGED_DEFAULT);

}

void Error_Handler(void)
{
  /* USER CODE BEGIN Error_Handler_Debug */
  /* User can add his own implementation to report the HAL error return state */
  if (true == g_sd_card_initializing)
  {
    g_sd_card_initialized = false;
    return;
  }

  __disable_irq();
  while (1)
  {
  }
  /* USER CODE END Error_Handler_Debug */
}
